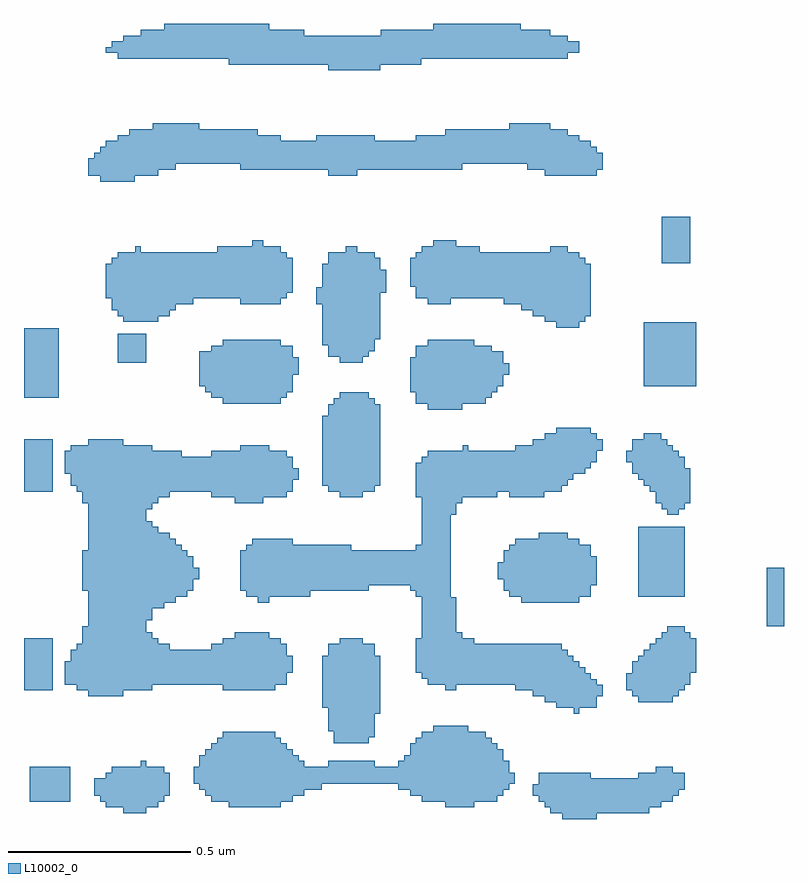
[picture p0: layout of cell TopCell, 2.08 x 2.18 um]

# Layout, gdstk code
import gdstk
lib = gdstk.Library(unit=1e-6, precision=1e-09)
def R(c, l, rs):  # rectangles x0, y0, x1, y1
    for r in rs: c.add(gdstk.rectangle(r[:2], r[2:], *l))
L10002_0 = (10002, 0)

topcell = lib.new_cell('TopCell')
R(topcell, L10002_0, [(2.496,1.104,2.591,1.12), (1.296,1.12,1.359,1.136), (2.464,1.12,2.735,1.136), (1.248,1.136,1.391,1.152), (1.584,1.136,1.727,1.152), (2.176,1.136,2.255,1.152), (2.448,1.136,2.767,1.152), (1.04,1.152,1.151,1.247), (1.232,1.152,1.407,1.168), (1.536,1.152,1.759,1.168), (2.112,1.152,2.319,1.168), (2.432,1.152,2.799,1.168), (1.216,1.168,1.423,1.215), (1.52,1.168,1.791,1.184), (2.08,1.168,2.335,1.184), (2.416,1.168,2.815,1.199), (1.504,1.184,1.839,1.2), (2.048,1.184,2.351,1.2), (2.815,1.184,2.831,1.199), (2.432,1.199,2.831,1.215), (1.488,1.2,2.367,1.231), (1.248,1.215,1.423,1.231), (2.432,1.215,2.575,1.231), (2.704,1.215,2.831,1.231), (1.264,1.231,1.407,1.247), (1.488,1.231,2.351,1.247), (2.752,1.231,2.799,1.247), (1.344,1.247,1.359,1.263), (1.504,1.247,1.791,1.263), (1.856,1.247,1.983,1.263), (2.048,1.247,2.351,1.263), (1.504,1.263,1.775,1.279), (2.064,1.263,2.335,1.279), (1.52,1.279,1.759,1.295), (2.08,1.279,2.335,1.295), (1.536,1.295,1.743,1.311), (2.08,1.295,2.319,1.311), (1.552,1.311,1.727,1.327), (2.096,1.311,2.303,1.327), (1.872,1.312,1.967,1.344), (1.568,1.327,1.711,1.343), (2.112,1.327,2.287,1.343), (1.967,1.328,1.983,1.344), (2.144,1.343,2.239,1.359), (1.856,1.344,1.983,1.408), (1.983,1.392,1.999,1.408), (2.528,1.392,2.543,1.408), (1.84,1.408,1.999,1.551), (2.48,1.408,2.591,1.424), (2.448,1.424,2.591,1.44), (2.704,1.424,2.799,1.44), (1.2,1.44,1.295,1.456), (2.416,1.44,2.607,1.456), (2.688,1.44,2.815,1.456), (1.024,1.456,1.103,1.599), (1.168,1.456,1.375,1.472), (1.568,1.456,1.711,1.472), (2.176,1.456,2.207,1.472), (2.368,1.456,2.607,1.471), (2.672,1.456,2.831,1.503), (2.368,1.471,2.591,1.472), (1.136,1.472,1.743,1.535), (2.128,1.472,2.591,1.487), (2.831,1.472,2.847,1.503), (2.128,1.487,2.575,1.488), (2.112,1.488,2.575,1.503), (2.112,1.503,2.559,1.504), (2.688,1.503,2.847,1.535), (1.743,1.504,1.759,1.535), (2.096,1.504,2.559,1.519), (2.847,1.504,2.863,1.535), (2.096,1.519,2.543,1.535), (1.152,1.535,1.759,1.551), (2.096,1.535,2.527,1.551), (2.704,1.535,2.863,1.551), (1.152,1.551,1.743,1.567), (1.856,1.551,1.983,1.583), (2.096,1.551,2.511,1.567), (2.72,1.551,2.863,1.567), (1.168,1.567,1.423,1.583), (1.536,1.567,1.743,1.583), (2.096,1.567,2.495,1.583), (2.736,1.567,2.863,1.583), (1.184,1.583,1.391,1.599), (1.568,1.583,1.727,1.599), (1.888,1.583,1.951,1.599), (2.096,1.583,2.255,1.599), (2.752,1.583,2.863,1.599), (1.184,1.599,1.375,1.615), (1.6,1.599,1.695,1.615), (2.112,1.599,2.223,1.615), (2.768,1.599,2.847,1.615), (1.184,1.615,1.359,1.631), (2.112,1.615,2.207,1.711), (2.784,1.615,2.831,1.631), (1.2,1.631,1.359,1.728), (3.056,1.632,3.103,1.791), (1.359,1.648,1.375,1.728), (1.375,1.68,1.407,1.728), (1.407,1.696,1.439,1.728), (1.664,1.696,1.695,1.712), (2.384,1.696,2.543,1.712), (2.112,1.711,2.191,1.712), (1.439,1.712,1.471,1.728), (1.632,1.712,1.807,1.728), (2.096,1.712,2.191,1.728), (2.352,1.712,2.575,1.728), (2.704,1.712,2.831,1.903), (1.184,1.728,1.487,1.823), (1.616,1.728,1.967,1.839), (2.08,1.728,2.191,1.744), (2.336,1.728,2.575,1.76), (1.967,1.744,2.191,1.839), (2.575,1.744,2.591,1.76), (1.487,1.76,1.503,1.791), (2.32,1.76,2.591,1.807), (2.336,1.807,2.591,1.823), (1.184,1.823,1.471,1.839), (2.336,1.823,2.575,1.839), (1.2,1.839,1.455,1.855), (1.632,1.839,1.919,1.855), (2.096,1.839,2.191,1.855), (2.352,1.839,2.575,1.855), (1.2,1.855,1.439,1.871), (1.648,1.855,1.759,1.871), (2.112,1.855,2.191,1.984), (2.368,1.855,2.543,1.871), (1.2,1.871,1.423,1.887), (2.432,1.871,2.511,1.887), (1.2,1.887,1.391,1.903), (1.2,1.903,1.375,1.919), (1.2,1.919,1.359,1.968), (2.191,1.936,2.207,1.984), (2.784,1.936,2.815,1.952), (1.359,1.952,1.375,1.968), (2.768,1.952,2.831,1.968), (1.184,1.968,1.391,2), (1.6,1.968,1.679,1.984), (2.207,1.968,2.223,1.984), (2.752,1.968,2.847,2), (1.391,1.984,1.423,2), (1.536,1.984,1.743,2), (1.888,1.984,1.951,2), (2.096,1.984,2.319,2.079), (2.352,1.984,2.447,2), (1.024,2,1.103,2.143), (1.168,2,1.759,2.016), (1.856,2,1.983,2.016), (2.319,2,2.495,2.079), (2.736,2,2.847,2.016), (1.152,2.016,1.759,2.048), (1.84,2.016,1.999,2.207), (2.495,2.016,2.511,2.079), (2.72,2.016,2.847,2.032), (1.759,2.032,1.775,2.048), (2.511,2.032,2.527,2.079), (2.704,2.032,2.847,2.048), (1.136,2.048,1.775,2.063), (2.527,2.048,2.559,2.079), (2.688,2.048,2.847,2.063), (1.136,2.063,1.759,2.095), (2.688,2.063,2.831,2.08), (2.559,2.064,2.575,2.079), (2.112,2.079,2.575,2.095), (2.575,2.08,2.591,2.095), (2.672,2.08,2.831,2.095), (1.136,2.095,1.455,2.111), (1.536,2.095,1.743,2.111), (2.128,2.095,2.591,2.111), (2.672,2.095,2.815,2.111), (1.152,2.111,1.375,2.127), (1.616,2.111,1.695,2.127), (2.224,2.111,2.239,2.127), (2.368,2.111,2.591,2.127), (2.688,2.111,2.799,2.127), (2.591,2.112,2.607,2.127), (1.2,2.127,1.295,2.143), (2.416,2.127,2.607,2.143), (2.688,2.127,2.783,2.143), (2.448,2.143,2.591,2.159), (2.72,2.143,2.767,2.159), (2.48,2.159,2.575,2.175), (1.856,2.207,1.999,2.239), (2.128,2.224,2.223,2.24), (1.872,2.239,1.983,2.255), (1.568,2.24,1.727,2.256), (2.096,2.24,2.287,2.272), (1.888,2.255,1.967,2.271), (1.024,2.256,1.119,2.447), (1.536,2.256,1.743,2.272), (2.287,2.256,2.303,2.272), (1.52,2.272,1.759,2.288), (2.08,2.272,2.319,2.367), (1.504,2.288,1.759,2.383), (2.319,2.288,2.335,2.367), (2.72,2.288,2.863,2.463), (1.759,2.32,1.775,2.367), (2.335,2.32,2.351,2.351), (1.28,2.352,1.359,2.431), (1.888,2.352,1.951,2.368), (2.096,2.367,2.335,2.383), (1.856,2.368,1.967,2.4), (1.536,2.383,1.759,2.399), (2.096,2.383,2.303,2.399), (1.967,2.384,1.983,2.4), (1.568,2.399,1.727,2.415), (2.128,2.399,2.255,2.415), (1.84,2.4,1.983,2.512), (1.983,2.416,1.999,2.512), (2.48,2.448,2.543,2.464), (1.296,2.464,1.391,2.48), (2.448,2.464,2.559,2.48), (1.28,2.48,1.423,2.496), (2.416,2.48,2.575,2.496), (1.264,2.496,1.439,2.528), (2.384,2.496,2.575,2.512), (1.439,2.512,1.487,2.528), (1.616,2.512,1.727,2.528), (1.824,2.512,1.999,2.559), (2.128,2.512,2.191,2.528), (2.336,2.512,2.575,2.528), (1.248,2.528,1.743,2.623), (2.096,2.528,2.575,2.56), (1.743,2.544,1.759,2.623), (1.999,2.544,2.015,2.559), (1.84,2.559,2.015,2.607), (2.08,2.56,2.575,2.623), (1.84,2.607,1.999,2.623), (1.264,2.623,1.759,2.639), (1.856,2.623,1.999,2.639), (2.08,2.623,2.559,2.639), (2.768,2.624,2.847,2.751), (1.28,2.639,1.743,2.655), (1.856,2.639,1.983,2.655), (2.096,2.639,2.543,2.655), (1.328,2.655,1.343,2.671), (1.552,2.655,1.727,2.671), (1.904,2.655,1.935,2.671), (2.112,2.655,2.271,2.671), (2.464,2.655,2.511,2.671), (1.648,2.671,1.679,2.687), (2.144,2.671,2.207,2.687), (1.232,2.848,1.327,2.864), (1.2,2.864,1.391,2.911), (1.856,2.864,1.935,2.88), (2.448,2.864,2.591,2.88), (1.391,2.88,1.439,2.911), (1.616,2.88,2.223,2.896), (2.4,2.88,2.607,2.896), (1.439,2.896,2.607,2.911), (1.216,2.911,2.607,2.927), (1.232,2.927,2.591,2.943), (1.248,2.943,2.575,2.959), (1.28,2.959,1.727,2.975), (1.824,2.959,1.983,2.975), (2.096,2.959,2.543,2.975), (1.312,2.975,1.663,2.991), (2.176,2.975,2.511,2.991), (1.376,2.991,1.503,3.007), (2.352,2.991,2.463,3.007), (1.856,3.152,1.999,3.168), (1.584,3.168,2.111,3.184), (1.28,3.184,2.511,3.2), (1.248,3.2,2.543,3.215), (1.264,3.215,2.543,3.231), (1.296,3.231,2.511,3.247), (1.344,3.247,1.791,3.263), (2,3.247,2.463,3.263), (1.408,3.263,1.695,3.279), (2.144,3.263,2.383,3.279)])

lib.write_gds('TopCell.gds')
